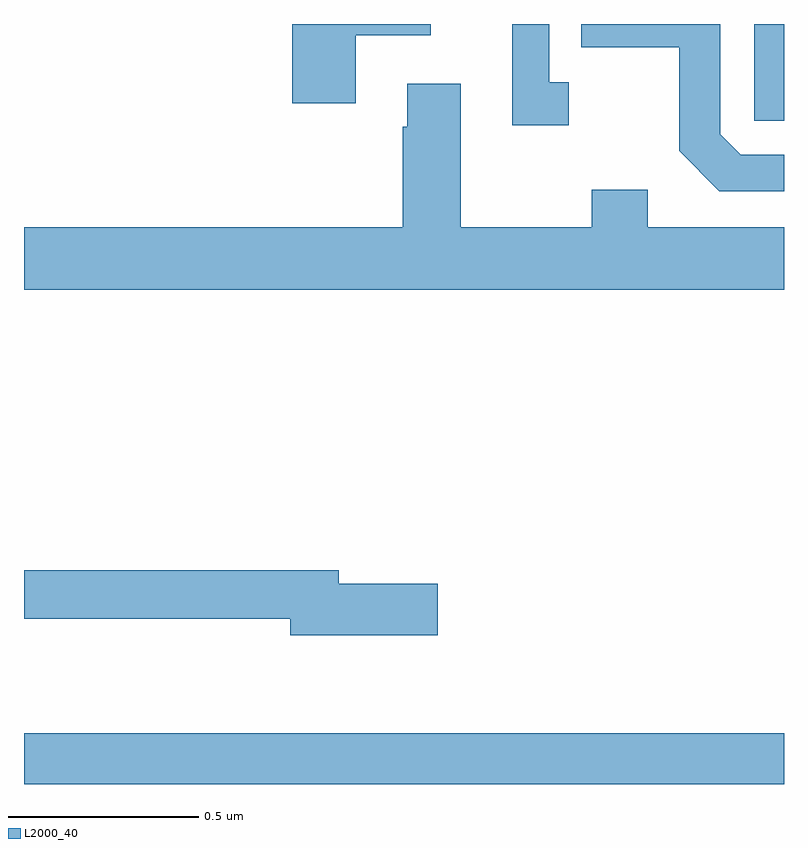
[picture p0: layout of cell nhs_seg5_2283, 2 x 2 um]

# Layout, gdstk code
import gdstk
lib = gdstk.Library(unit=1e-6, precision=1e-09)
def R(c, l, rs):  # rectangles x0, y0, x1, y1
    for r in rs: c.add(gdstk.rectangle(r[:2], r[2:], *l))
def P(c, l, *ps):  # polygons
    for p in ps: c.add(gdstk.Polygon(p, *l))
L2000_40 = (2000, 40)

nhs_seg5_2283 = lib.new_cell('nhs_seg5_2283')
R(nhs_seg5_2283, L2000_40, [(142,848.799,144,848.932), (143.922,850.545,144,850.799)])
P(nhs_seg5_2283, L2000_40, [(143.434,850.646),(143.382,850.646),(143.382,850.799),(143.285,850.799),(143.285,850.533),(143.434,850.533)],
  [(144,850.455),(143.886,850.455),(143.832,850.509),(143.832,850.799),(143.467,850.799),(143.467,850.738),(143.724,850.738),(143.724,850.465),(143.829,850.359),(144,850.359)],
  [(142.873,850.769),(143.071,850.769),(143.071,850.799),(142.706,850.799),(142.706,850.59),(142.873,850.59)],
  [(144,850.264),(143.641,850.264),(143.641,850.363),(143.494,850.363),(143.494,850.264),(143.149,850.264),(143.149,850.642),(143.009,850.642),(143.009,850.529),(142.997,850.529),(142.997,850.264),(142,850.264),(142,850.1),(144,850.1)],
  [(143.089,849.326),(142.828,849.326),(142.828,849.362),(142,849.362),(142,849.234),(142.7,849.234),(142.7,849.191),(143.089,849.191)])

lib.write_gds('nhs_seg5_2283.gds')
